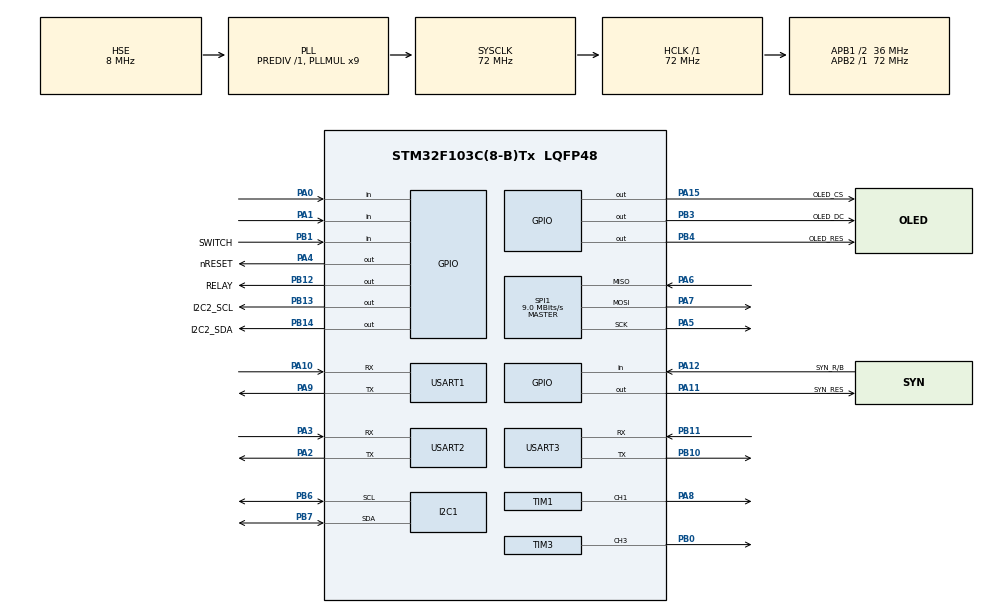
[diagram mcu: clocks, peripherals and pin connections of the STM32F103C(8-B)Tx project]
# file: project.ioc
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Mcu.Family=STM32F1
Mcu.Name=STM32F103C(8-B)Tx
Mcu.Package=LQFP48
NVIC.PriorityGroup=NVIC_PRIORITYGROUP_4
NVIC.USART2_IRQn=true\:0\:0\:false\:false\:true\:true\:true\:true
PA0-WKUP.GPIO_PuPd=GPIO_PULLUP
PA0-WKUP.Signal=GPIO_Input
PA1.GPIO_PuPd=GPIO_PULLUP
PA1.Signal=GPIO_Input
PA10.Mode=Asynchronous
PA10.Signal=USART1_RX
PA11.GPIO_Label=SYN_RES
PA11.PinState=GPIO_PIN_SET
PA11.Signal=GPIO_Output
PA12.GPIO_Label=SYN_R/B
PA12.Signal=GPIO_Input
PA13.Mode=Serial_Wire
PA13.Signal=SYS_JTMS-SWDIO
PA14.Mode=Serial_Wire
PA14.Signal=SYS_JTCK-SWCLK
PA15.GPIO_Label=OLED_CS
PA15.PinState=GPIO_PIN_SET
PA15.Signal=GPIO_Output
PA2.Mode=Asynchronous
PA2.Signal=USART2_TX
PA3.Mode=Asynchronous
PA3.Signal=USART2_RX
PA4.GPIO_Label=nRESET
PA4.PinState=GPIO_PIN_SET
PA4.Signal=GPIO_Output
PA5.Mode=Full_Duplex_Master
PA5.Signal=SPI1_SCK
PA6.Mode=Full_Duplex_Master
PA6.Signal=SPI1_MISO
PA7.Mode=Full_Duplex_Master
PA7.Signal=SPI1_MOSI
PA8.Signal=S_TIM1_CH1
PA9.Mode=Asynchronous
PA9.Signal=USART1_TX
PB0.Signal=S_TIM3_CH3
PB1.GPIO_Label=SWITCH
PB1.GPIO_PuPd=GPIO_PULLUP
PB1.Signal=GPIO_Input
PB10.Mode=Asynchronous
PB10.Signal=USART3_TX
PB11.Mode=Asynchronous
PB11.Signal=USART3_RX
PB12.GPIO_Label=RELAY
PB12.Signal=GPIO_Output
PB13.GPIO_Label=I2C2_SCL
PB13.GPIO_ModeDefaultOutputPP=GPIO_MODE_OUTPUT_OD
PB13.GPIO_PuPd=GPIO_NOPULL
PB13.GPIO_Speed=GPIO_SPEED_FREQ_HIGH
PB13.PinState=GPIO_PIN_SET
PB13.Signal=GPIO_Output
PB14.GPIO_Label=I2C2_SDA
PB14.GPIO_ModeDefaultOutputPP=GPIO_MODE_OUTPUT_OD
PB14.GPIO_PuPd=GPIO_NOPULL
PB14.GPIO_Speed=GPIO_SPEED_FREQ_HIGH
PB14.PinState=GPIO_PIN_SET
PB14.Signal=GPIO_Output
PB3.GPIO_Label=OLED_DC
PB3.Signal=GPIO_Output
PB4.GPIO_Label=OLED_RES
PB4.PinState=GPIO_PIN_SET
PB4.Signal=GPIO_Output
PB6.Mode=I2C
PB6.Signal=I2C1_SCL
PB7.Mode=I2C
PB7.Signal=I2C1_SDA
PD0-OSC_IN.Mode=HSE-External-Oscillator
PD0-OSC_IN.Signal=RCC_OSC_IN
PD1-OSC_OUT.Mode=HSE-External-Oscillator
PD1-OSC_OUT.Signal=RCC_OSC_OUT
ProjectManager.HeapSize=0x200
ProjectManager.StackSize=0x400
ProjectManager.TargetToolchain=CMake
RCC.AHBFreq_Value=72000000
RCC.APB1CLKDivider=RCC_HCLK_DIV2
RCC.APB1Freq_Value=36000000
RCC.APB1TimFreq_Value=72000000
RCC.APB2Freq_Value=72000000
RCC.APB2TimFreq_Value=72000000
RCC.HCLKFreq_Value=72000000
RCC.PLLMUL=RCC_PLL_MUL9
RCC.PLLSourceVirtual=RCC_PLLSOURCE_HSE
RCC.SYSCLKFreq_VALUE=72000000
RCC.SYSCLKSource=RCC_SYSCLKSOURCE_PLLCLK
RCC.USBFreq_Value=72000000
SH.S_TIM1_CH1.0=TIM1_CH1,PWM Generation1 CH1
SH.S_TIM3_CH3.0=TIM3_CH3,PWM Generation3 CH3
SPI1.BaudRatePrescaler=SPI_BAUDRATEPRESCALER_8
SPI1.CalculateBaudRate=9.0 MBits/s
SPI1.Direction=SPI_DIRECTION_2LINES
SPI1.Mode=SPI_MODE_MASTER
SPI1.VirtualType=VM_MASTER
TIM1.AutoReloadPreload=TIM_AUTORELOAD_PRELOAD_ENABLE
TIM1.Channel-PWM\ Generation1\ CH1=TIM_CHANNEL_1
TIM1.Period=19999
TIM1.Prescaler=71
TIM1.Pulse-PWM\ Generation1\ CH1=1500
TIM3.AutoReloadPreload=TIM_AUTORELOAD_PRELOAD_ENABLE
TIM3.Channel-PWM\ Generation3\ CH3=TIM_CHANNEL_3
TIM3.OC3Preload_PWM=DISABLE
TIM3.Period=999
TIM3.Prescaler=71
TIM3.Pulse-PWM\ Generation3\ CH3=500
USART1.VirtualMode=VM_ASYNC
USART2.VirtualMode=VM_ASYNC
USART3.VirtualMode=VM_ASYNC
VP_TIM3_VS_ClockSourceINT.Mode=Internal
board=custom

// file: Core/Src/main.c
/* USER CODE BEGIN Header */
/**
  ******************************************************************************
  * @file           : main.c
  * @brief          : Main program body
  ******************************************************************************
  * @attention
  *
  * Copyright (c) 2026 STMicroelectronics.
  * All rights reserved.
  *
  * This software is licensed under terms that can be found in the LICENSE file
  * in the root directory of this software component.
  * If no LICENSE file comes with this software, it is provided AS-IS.
  *
  ******************************************************************************
  */
/* USER CODE END Header */
#include "main.h"
#include "duoji.h"
#include "i2c.h"
#include "spi.h"
#include "tim.h"
#include "usart.h"
#include "gpio.h"

/* USER CODE BEGIN Includes */
#include "OLED.h"
#include "led.h"
#include "encoder.h"
#include "syn8089.h"
#include "duoji_app.h"
#include "relay_app.h"
#include "esp-12f_app.h"
/* USER CODE END Includes */

void SystemClock_Config(void);

int main(void)
{

  /* MCU Configuration--------------------------------------------------------*/

  /* Reset of all peripherals, Initializes the Flash interface and the Systick. */
  HAL_Init();

  /* Configure the system clock */
  SystemClock_Config();

  /* Initialize all configured peripherals */
  MX_GPIO_Init();
  MX_I2C1_Init();
  MX_SPI1_Init();
  MX_USART1_UART_Init();
  MX_USART2_UART_Init();
  MX_USART3_UART_Init();
  MX_TIM1_Init();
  MX_TIM3_Init();
  /* USER CODE BEGIN 2 */
  Encoder_Init();
  OLED_Init();
  SYN8089_Init();
  ESP12F_App_Init();
  if (LED_Init() != HAL_OK)
  {
    Error_Handler();
  }
  LED1_BreathStart(LED1_BREATH_DEFAULT_PERIOD_MS);
  /* USER CODE END 2 */

  /* Infinite loop */
  /* USER CODE BEGIN WHILE */
  duoji_state = Duoji_Off();
  relay_state = Relay_Off();
  SYN8089_SpeakUTF8("[x1]sound901您好，欢迎使用。");
  while (1)
  {
    LED1_Task();
    ESP12F_App_Task();
    /* USER CODE END WHILE */

  }
}

void SystemClock_Config(void)
{
  RCC_OscInitTypeDef RCC_OscInitStruct = {0};
  RCC_ClkInitTypeDef RCC_ClkInitStruct = {0};

  /** Initializes the RCC Oscillators according to the specified parameters
  * in the RCC_OscInitTypeDef structure.
  */
  RCC_OscInitStruct.OscillatorType = RCC_OSCILLATORTYPE_HSE;
  RCC_OscInitStruct.HSEState = RCC_HSE_ON;
  RCC_OscInitStruct.HSEPredivValue = RCC_HSE_PREDIV_DIV1;
  RCC_OscInitStruct.HSIState = RCC_HSI_ON;
  RCC_OscInitStruct.PLL.PLLState = RCC_PLL_ON;
  RCC_OscInitStruct.PLL.PLLSource = RCC_PLLSOURCE_HSE;
  RCC_OscInitStruct.PLL.PLLMUL = RCC_PLL_MUL9;
  if (HAL_RCC_OscConfig(&RCC_OscInitStruct) != HAL_OK)
  {
    Error_Handler();
  }

  /** Initializes the CPU, AHB and APB buses clocks
  */
  RCC_ClkInitStruct.ClockType = RCC_CLOCKTYPE_HCLK|RCC_CLOCKTYPE_SYSCLK
                              |RCC_CLOCKTYPE_PCLK1|RCC_CLOCKTYPE_PCLK2;
  RCC_ClkInitStruct.SYSCLKSource = RCC_SYSCLKSOURCE_PLLCLK;
  RCC_ClkInitStruct.AHBCLKDivider = RCC_SYSCLK_DIV1;
  RCC_ClkInitStruct.APB1CLKDivider = RCC_HCLK_DIV2;
  RCC_ClkInitStruct.APB2CLKDivider = RCC_HCLK_DIV1;

  if (HAL_RCC_ClockConfig(&RCC_ClkInitStruct, FLASH_LATENCY_2) != HAL_OK)
  {
    Error_Handler();
  }
}

void Error_Handler(void)
{
  __disable_irq();
  while (1)
  {
  }
}
